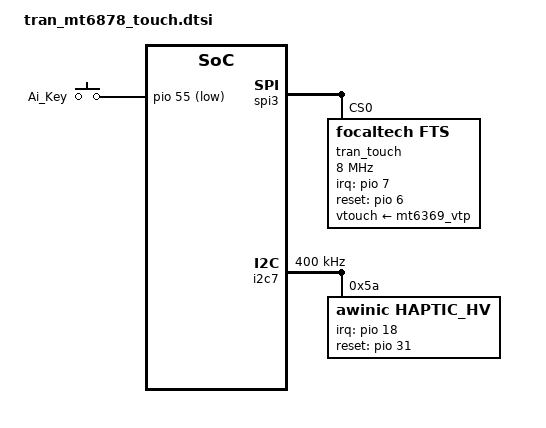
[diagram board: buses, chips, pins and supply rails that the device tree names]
// SPDX-License-Identifier: (GPL-2.0 OR MIT)
/*
 * Copyright (C) 2020 MediaTek Inc.
 */
 /* key start */
&mt6363keys {
        home {
                linux,keycodes = <114>;
        };
};

&gpio_keys {
        status = "okay";
        aikey {
            label = "Ai_Key";
            linux,code = <605>;
            linux,input-type = <1>;
            gpios = <&pio 55 1>;
            wakeup-source;
            debounce-interval = <30>;
        };
};
/* key end */

/* TOUCH start */
&odm {
        touch: touch {
                compatible = "mediatek,touch";
        };
};

&touch {
        supplier-num = <1>;
        supplier-vendor-0 = "TM";
        supplier-vendor-fwname-0 = "focaltech_ts_fw.bin";
        supplier-0 = "any, focaltech, ft3683g";
        supplier-resolution-0 = <16>;
};

&spi3 {
    tran_touch:touch@0 {
        compatible = "focaltech,fts";
        reg = <0>;
        spi-max-frequency = <8000000>;
        vtouch-supply = <&mt6369_vtp>;
        focaltech,irq-gpio = <&pio 7 0x0>;
        focaltech,reset-gpio = <&pio 6 0x0>;
        //focaltech,iovdd-gpio = <&pio 6 0x0>;
        focaltech,max-touch-number = <10>;
        focaltech,display-coords =  <0 0 17279 38975>;
        focaltech,pocket-function-support;
        focaltech,fod-function-support;
        focaltech,custom-mistouch-support;
        focaltech,switch-report-support;
        status = "okay";
    };
};
/* TOUCH end */

/* AWINIC Haptic start */
&chosen {
        lra,info = <1 7 31>;//type:(1:X-lra 2:Z-lra)  bus_num:i2c5  reset_gpio:gpio31
};

&i2c7 {
	clock-frequency = <400000>;
	haptic_hv@5A {
		compatible = "awinic,haptic_hv";
		reg = <0x5A>;
		irq-gpio = <&pio 18 0>;
		reset-gpio = <&pio 31 0>;
		f0_pre = < 1700 >;
		mode = /bits/ 8 < 5 >;
		aw8692x_f0_cali_percent = /bits/ 8 < 7 >;
		aw8692x_gain_bypass = /bits/ 8 < 1 >;
		aw8692x_cont_drv1_lvl = /bits/ 8 < 0x7F >;
		aw8692x_cont_lra_vrms = < 1000 >; /* Motor rated voltage, mV. If use 0812, 0512, 0412 or 0825, please select ram get f0 */
		aw8692x_cont_drv1_time = /bits/ 8 < 0x04 >;
		aw8692x_cont_drv2_time = /bits/ 8 < 0x14 >;
		aw8692x_cont_track_margin = /bits/ 8 < 0x0F >;
		aw8692x_cont_brk_gain = /bits/ 8 < 0x08 >;
		aw8692x_cont_brk_time = /bits/ 8 < 0x08 >;
		//aw8692x_duration_time = /bits/ 8 < 20 30 60 >;
		aw8692x_duration_time = /bits/ 8 < 30 60 90 >;
		aw8692x_d2s_gain = /bits/ 8 < 0x04 >;
		aw8692x_trig_config = /bits/ 8 < 0 0 0 1 0 2 0 0
						 0 0 0 1 0 2 0 0
						 0 0 0 1 0 2 0 0 >;
		aw8692x_bst_vol_default = < 9000 >;
		aw8692x_is_enabled_track_en;
		aw8692x_is_enabled_auto_bst;
		/* aw8692x_is_enabled_one_wire; */
		status = "okay";
	};
};
/* AWINIC Haptic end */
